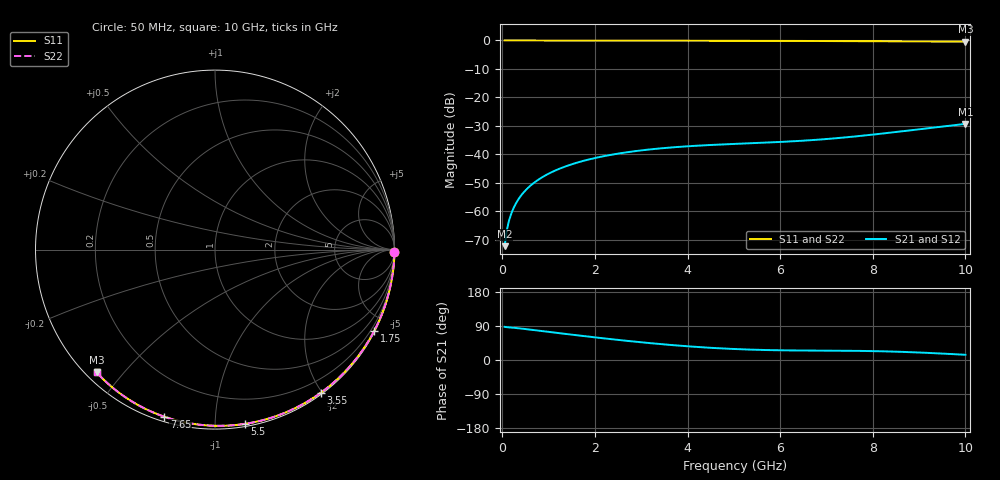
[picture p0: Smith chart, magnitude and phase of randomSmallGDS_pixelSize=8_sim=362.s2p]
! freq	dB(S11)	phase(S11)	dB(S12)	phase(S12)
!  dB(S21)	phase(S21)	dB(S22)	phase(S22)
!S-par simulation data
#  GHz  S  DB  R 50
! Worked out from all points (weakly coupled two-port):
!   200 points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, 50 MHz to 10 GHz, reference 50 ohm
!   highest |S21| = -29.28 dB at 10 GHz (marker M1); lowest = -72.2 dB at 50 MHz (marker M2)
!   lowest |S11| = -0.4 dB at 10 GHz (marker M3), VSWR 39.13, Z = 1.51 - j21.2 ohm
!   |S11| at or under -10 dB: nowhere
!   |S22| runs from -0.4 to 0.0 dB; largest |S21 - S12| = 0
!   S11 on the Smith chart (normalised r, x): 50 MHz: open; 1.75 GHz: 0.04, -4.15; 3.55 GHz: 0.02, -1.98; 5.5 GHz: 0.02, -1.19; 7.65 GHz: 0.02, -0.74; 10 GHz: 0.03, -0.42
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0.05  -0.00 -0.8  -72.20 87.4  -72.20 87.4  -0.00 -0.8
0.1  -0.00 -1.6  -66.38 86.6  -66.38 86.6  -0.00 -1.6
0.15  -0.00 -2.4  -62.95 86.1  -62.95 86.1  -0.00 -2.4
0.2  -0.00 -3.2  -60.50 85.6  -60.50 85.6  -0.00 -3.1
0.25  -0.00 -3.9  -58.59 85.0  -58.59 85.0  -0.00 -3.9
0.35  -0.00 -5.5  -55.70 83.8  -55.70 83.8  -0.00 -5.5
0.5  -0.01 -7.9  -52.63 81.7  -52.63 81.7  -0.01 -7.8
0.7  -0.01 -11.0  -49.76 78.7  -49.76 78.7  -0.01 -11.0
1  -0.02 -15.6  -46.76 74.3  -46.76 74.3  -0.02 -15.6
1.35  -0.03 -21.0  -44.30 69.1  -44.30 69.1  -0.03 -21.0
1.75  -0.03 -27.1  -42.26 63.3  -42.26 63.3  -0.03 -27.1
2.5  -0.05 -38.3  -39.71 53.0  -39.71 53.0  -0.05 -38.3
3.4  -0.07 -51.5  -37.90 42.2  -37.90 42.2  -0.07 -51.5
3.55  -0.07 -53.6  -37.68 40.6  -37.68 40.6  -0.07 -53.6
4.3  -0.09 -64.1  -36.85 33.7  -36.85 33.7  -0.09 -64.1
5.05  -0.11 -74.3  -36.29 28.8  -36.29 28.8  -0.11 -74.3
5.5  -0.13 -80.2  -35.99 26.9  -35.99 26.9  -0.13 -80.2
6.7  -0.18 -95.4  -34.96 24.8  -34.96 24.8  -0.18 -95.4
7.65  -0.24 -106.9  -33.64 24.1  -33.64 24.1  -0.24 -106.9
8.35  -0.29 -115.1  -32.41 22.5  -32.41 22.5  -0.29 -115.1
9.2  -0.36 -124.9  -30.80 18.7  -30.80 18.7  -0.36 -124.9
10  -0.44 -134.0  -29.28 13.7  -29.28 13.7  -0.44 -134.0
